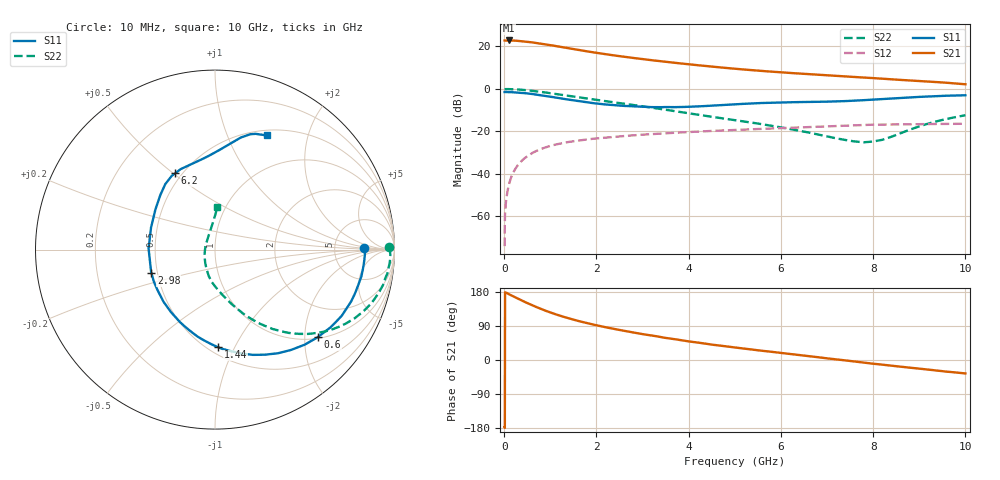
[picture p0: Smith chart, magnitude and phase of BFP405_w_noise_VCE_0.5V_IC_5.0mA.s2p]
! Infineon Technologies  Discrete & RF Semiconductors
! BFP405
! VCE =  0.5 V,  IC =  5.0 mA
! Common Emitter S-Parameters:  Jan 2016
# GHz  S  MA  R  50
!  f  S11  S21  S12  S22
! GHz  MAG  ANG  MAG  ANG  MAG  ANG  MAG  ANG
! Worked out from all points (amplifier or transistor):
!   233 points, 10 MHz to 10 GHz, reference 50 ohm
!   highest |S21| = 22.6 dB at 100 MHz (marker M1)
!   |S21| within 3 dB of that: start of sweep to 1.221 GHz
!   unconditionally stable (mu >= 1): start of sweep to 14.89 MHz; 3.105 GHz to end of sweep
!   at 200 MHz: K = 0.11, MSG = 30.9 dB, |S12| = -39.3 dB
!   at 1.74 GHz: K = 0.62, MSG = 20.9 dB, |S12| = -24.0 dB
!   at 10 GHz: K = 1.51, MAG = 5.1 dB, |S12| = -16.5 dB
!   lowest NFmin = 1.22 dB at 900 MHz
!   S11 on the Smith chart (normalised r, x): 10 MHz: 11, +1; 600 MHz: 1.03, -2.32; 1.44 GHz: 0.56, -0.86; 2.98 GHz: 0.46, -0.14; 6.2 GHz: 0.46, +0.51; 10 GHz: 0.56, +1.41
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0.01  0.8328 0.7  13.52 -177.1  0.0002 45.0  0.97 0.7
0.015  0.8342 -0.4  13.5 -179.2  0.0007 81.6  0.9725 0.1
0.02  0.8358 -1.4  13.51 178.6  0.0012 87.3  0.9752 -0.5
0.1  0.8318 -7.0  13.56 173.8  0.0053 85.6  0.9769 -3.9
0.3  0.8118 -20.8  13.26 162.0  0.0162 79.0  0.9568 -11.9
0.45  0.7855 -30.8  12.8 153.1  0.0236 73.5  0.9284 -17.6
0.6  0.7521 -40.5  12.25 144.8  0.0304 68.6  0.8934 -22.9
0.8  0.7012 -52.9  11.43 134.7  0.0384 62.8  0.8399 -29.2
0.92  0.6698 -59.8  10.89 129.0  0.0426 59.6  0.8061 -32.6
1.14  0.6131 -72.2  9.944 119.7  0.0494 54.5  0.7446 -38.3
1.44  0.5435 -88.3  8.739 108.6  0.0569 48.9  0.6664 -44.8
1.68  0.4979 -100.2  7.906 100.8  0.0621 45.2  0.6104 -49.1
2.2  0.4258 -125.2  6.448 86.4  0.0712 39.0  0.509 -56.7
2.98  0.3775 -159.8  4.978 68.8  0.0828 31.9  0.3886 -66.3
3.4  0.3677 -176.9  4.4 60.5  0.0884 28.5  0.3328 -71.3
4  0.3769 161.0  3.738 49.1  0.0959 23.9  0.2643 -79.5
5.1  0.4357 133.3  2.876 31.6  0.1084 16.2  0.1757 -96.8
6.2  0.4796 117.5  2.34 15.9  0.1209 9.1  0.1129 -115.5
6.8  0.4908 107.9  2.123 7.4  0.1284 4.9  0.0841 -131.3
7.8  0.5373 90.8  1.823 -6.8  0.1403 -3.5  0.0551 172.8
8.4  0.5885 82.8  1.656 -15.1  0.1444 -8.9  0.0745 122.9
10  0.6998 65.3  1.268 -35.5  0.1497 -20.2  0.2376 86.9
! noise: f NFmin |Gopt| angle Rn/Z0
0.9  1.22  0.36  11  0.33
1.8  1.49  0.28  18  0.31
2.4  1.64  0.24  26  0.31
3  1.66  0.21  44  0.29
4  1.83  0.1  66  0.25
5  2.19  0.05  139  0.23
